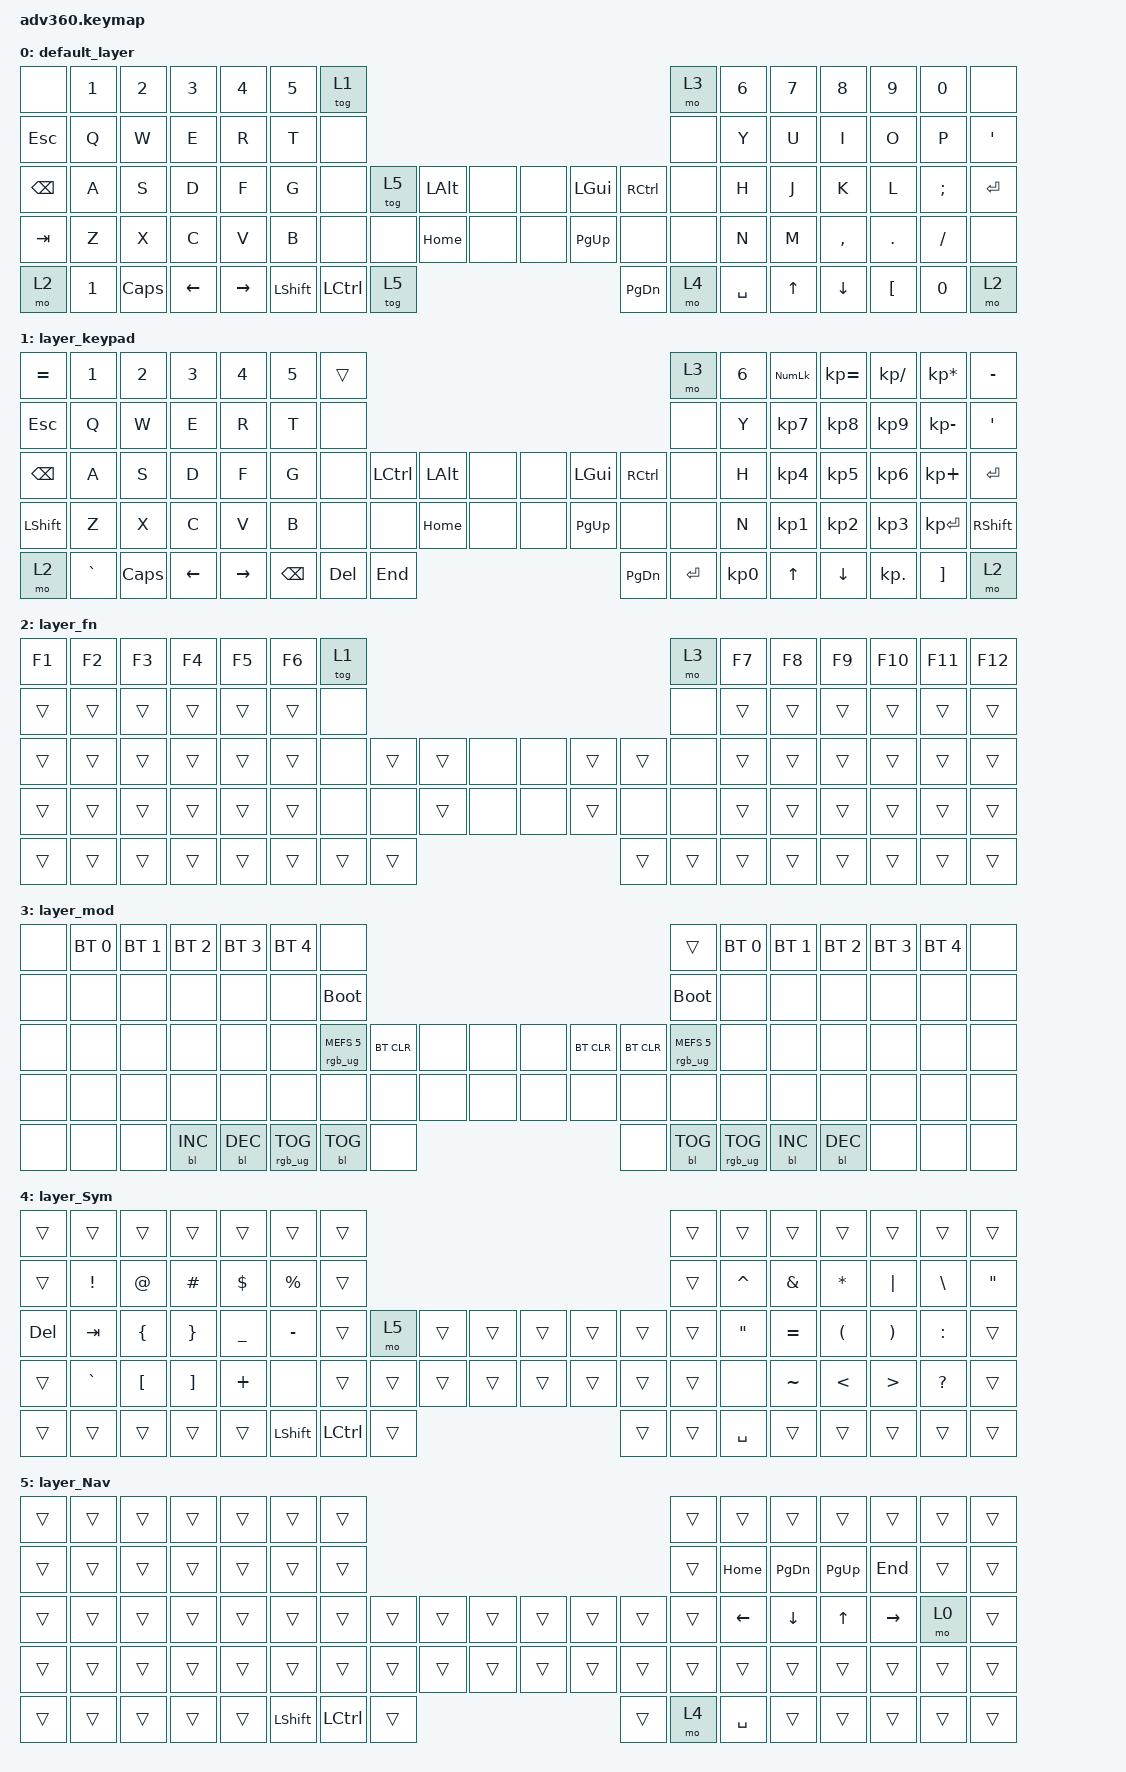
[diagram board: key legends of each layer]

/*
 * Copyright (c) 2020 The ZMK Contributors
 *
 * SPDX-License-Identifier: MIT
 */


/* THIS FILE WAS GENERATED!
 *
 * This file was generated automatically. You may or may not want to
 * edit it directly.
 */

#include <behaviors.dtsi>
#include <dt-bindings/zmk/keys.h>
#include <dt-bindings/zmk/bt.h>
#include <dt-bindings/zmk/rgb.h>
#include <dt-bindings/zmk/backlight.h>

/ {
  behaviors {
    #include "macros.dtsi"

    hm: homerow_mods {
        compatible = "zmk,behavior-hold-tap";
        label = "HOMEROW_MODS";
        #binding-cells = <2>;
        tapping-term-ms = <200>;
        quick_tap_ms = <175>;
        flavor = "tap-preferred";
        bindings = <&kp>, <&kp>;
    };
  };

    keymap {
        compatible = "zmk,keymap";


        default_layer {
            bindings = <
         &none        &kp N1    &kp N2    &kp N3     &kp N4  &kp N5                    &tog 1                                                                 &mo 3  &kp N6  &kp N7     &kp N8    &kp N9   &kp NUMBER_0      &none
       &kp ESC         &kp Q     &kp W     &kp E      &kp R   &kp T                     &none                                                                 &none   &kp Y   &kp U      &kp I     &kp O          &kp P   &kp APOS
 &kp BACKSPACE         &kp A     &kp S     &kp D      &kp F   &kp G                     &none     &tog 5  &kp LALT   &none   &none   &kp LGUI  &kp RCTRL      &none   &kp H   &kp J      &kp K     &kp L  &kp SEMICOLON  &kp ENTER
       &kp TAB         &kp Z     &kp X     &kp C      &kp V   &kp B                     &none      &none  &kp HOME   &none   &none  &kp PG_UP      &none      &none   &kp N   &kp M  &kp COMMA   &kp DOT      &kp SLASH      &none
         &mo 2  &kp NUMBER_1  &kp CAPS  &kp LEFT  &kp RIGHT                    &kp LEFT_SHIFT  &kp LCTRL    &tog 5                  &kp PG_DN      &mo 4  &kp SPACE          &kp UP   &kp DOWN  &kp LBKT   &kp NUMBER_0      &mo 2
            >;
        };

        layer_keypad {
            bindings = <
     &kp EQUAL     &kp N1    &kp N2    &kp N3     &kp N4  &kp N5              &trans                                                                 &mo 3  &kp N6  &kp KP_NUM  &kp KP_EQUAL  &kp KP_DIVIDE  &kp KP_MULTIPLY  &kp MINUS
       &kp ESC      &kp Q     &kp W     &kp E      &kp R   &kp T               &none                                                                 &none   &kp Y   &kp KP_N7     &kp KP_N8      &kp KP_N9     &kp KP_MINUS   &kp APOS
 &kp BACKSPACE      &kp A     &kp S     &kp D      &kp F   &kp G               &none  &kp LCTRL  &kp LALT   &none   &none   &kp LGUI  &kp RCTRL      &none   &kp H   &kp KP_N4     &kp KP_N5      &kp KP_N6      &kp KP_PLUS  &kp ENTER
     &kp LSHFT      &kp Z     &kp X     &kp C      &kp V   &kp B               &none      &none  &kp HOME   &none   &none  &kp PG_UP      &none      &none   &kp N   &kp KP_N1     &kp KP_N2      &kp KP_N3     &kp KP_ENTER  &kp RSHFT
         &mo 2  &kp GRAVE  &kp CAPS  &kp LEFT  &kp RIGHT                    &kp BSPC    &kp DEL   &kp END                  &kp PG_DN  &kp ENTER  &kp KP_N0              &kp UP      &kp DOWN     &kp KP_DOT         &kp RBKT      &mo 2
            >;
        };

        layer_fn {
            bindings = <
 &kp F1  &kp F2  &kp F3  &kp F4  &kp F5  &kp F6            &tog 1                                                   &mo 3  &kp F7  &kp F8  &kp F9  &kp F10  &kp F11  &kp F12
 &trans  &trans  &trans  &trans  &trans  &trans             &none                                                   &none  &trans  &trans  &trans   &trans   &trans   &trans
 &trans  &trans  &trans  &trans  &trans  &trans             &none  &trans  &trans   &none   &none  &trans  &trans   &none  &trans  &trans  &trans   &trans   &trans   &trans
 &trans  &trans  &trans  &trans  &trans  &trans             &none   &none  &trans   &none   &none  &trans   &none   &none  &trans  &trans  &trans   &trans   &trans   &trans
 &trans  &trans  &trans  &trans  &trans                    &trans  &trans  &trans                  &trans  &trans  &trans          &trans  &trans   &trans   &trans   &trans
            >;
        };

        layer_mod {
            bindings = <
  &none  &bt BT_SEL 0  &bt BT_SEL 1  &bt BT_SEL 2  &bt BT_SEL 3  &bt BT_SEL 4                             &none                                                                              &trans  &bt BT_SEL 0  &bt BT_SEL 1  &bt BT_SEL 2  &bt BT_SEL 3  &bt BT_SEL 4   &none
  &none         &none         &none         &none         &none         &none                       &bootloader                                                                         &bootloader         &none         &none         &none         &none         &none   &none
  &none         &none         &none         &none         &none         &none            &rgb_ug RGB_MEFS_CMD 5  &bt BT_CLR   &none   &none   &none  &bt BT_CLR  &bt BT_CLR  &rgb_ug RGB_MEFS_CMD 5         &none         &none         &none         &none         &none   &none
  &none         &none         &none         &none         &none         &none                             &none       &none   &none   &none   &none       &none       &none                   &none         &none         &none         &none         &none         &none   &none
  &none         &none         &none    &bl BL_INC    &bl BL_DEC                                 &rgb_ug RGB_TOG  &bl BL_TOG   &none                       &none  &bl BL_TOG         &rgb_ug RGB_TOG                  &bl BL_INC    &bl BL_DEC         &none         &none   &none
            >;
        };

        layer_Sym {
            bindings = <
  &trans           &trans            &trans             &trans          &trans       &trans                    &trans                                                        &trans             &trans         &trans                &trans                 &trans         &trans             &trans
  &trans  &kp EXCLAMATION       &kp AT_SIGN           &kp HASH      &kp DOLLAR  &kp PERCENT                    &trans                                                        &trans          &kp CARET  &kp AMPERSAND          &kp ASTERISK               &kp PIPE  &kp BACKSLASH  &kp DOUBLE_QUOTES
 &kp DEL          &kp TAB    &kp LEFT_BRACE    &kp RIGHT_BRACE  &kp UNDERSCORE    &kp MINUS                    &trans      &mo 5  &trans  &trans  &trans  &trans  &trans     &trans  &kp DOUBLE_QUOTES      &kp EQUAL  &kp LEFT_PARENTHESIS  &kp RIGHT_PARENTHESIS      &kp COLON             &trans
  &trans        &kp GRAVE  &kp LEFT_BRACKET  &kp RIGHT_BRACKET        &kp PLUS        &none                    &trans     &trans  &trans  &trans  &trans  &trans  &trans     &trans              &none      &kp TILDE         &kp LESS_THAN       &kp GREATER_THAN   &kp QUESTION             &trans
  &trans           &trans            &trans             &trans          &trans                         &kp LEFT_SHIFT  &kp LCTRL  &trans                  &trans  &trans  &kp SPACE                            &trans                &trans                 &trans         &trans             &trans
            >;
        };

        layer_Nav {
            bindings = <
 &trans  &trans  &trans  &trans  &trans  &trans                    &trans                                                        &trans          &trans          &trans        &trans           &trans  &trans  &trans
 &trans  &trans  &trans  &trans  &trans  &trans                    &trans                                                        &trans        &kp HOME       &kp PG_DN     &kp PG_UP          &kp END  &trans  &trans
 &trans  &trans  &trans  &trans  &trans  &trans                    &trans     &trans  &trans  &trans  &trans  &trans  &trans     &trans  &kp LEFT_ARROW  &kp DOWN_ARROW  &kp UP_ARROW  &kp RIGHT_ARROW   &mo 0  &trans
 &trans  &trans  &trans  &trans  &trans  &trans                    &trans     &trans  &trans  &trans  &trans  &trans  &trans     &trans          &trans          &trans        &trans           &trans  &trans  &trans
 &trans  &trans  &trans  &trans  &trans                    &kp LEFT_SHIFT  &kp LCTRL  &trans                  &trans   &mo 4  &kp SPACE                          &trans        &trans           &trans  &trans  &trans
            >;
        };

    };
};
